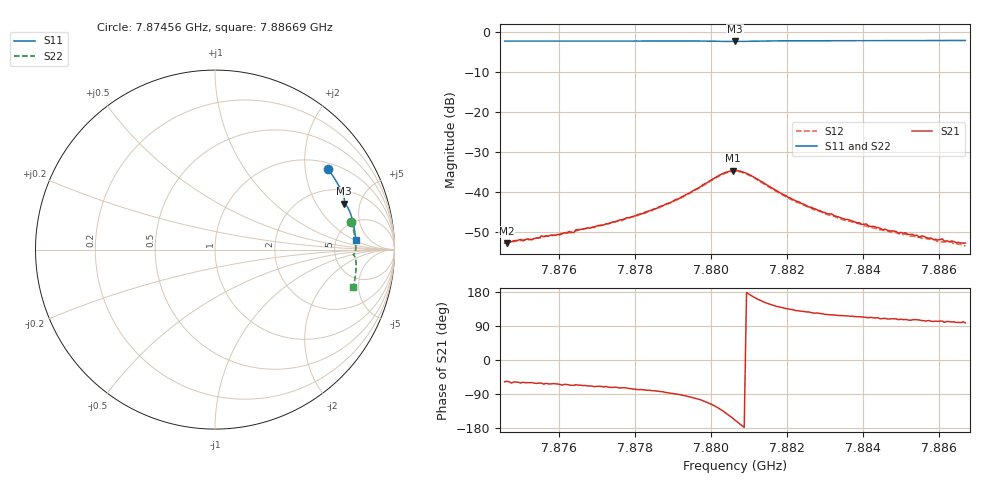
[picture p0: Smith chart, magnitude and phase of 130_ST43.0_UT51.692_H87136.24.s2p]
#  HZ  S  DB  R  50.00
! Rohde & Schwarz Vector Network Analyzer
! Rohde-Schwarz,ZNB20-2Port,1311601062101988,3.16
! Created: UTC 1/12/2023, 6:38:56 PM
! freq[Hz]  db:S11  ang:S11  db:S21  ang:S21  db:S12  ang:S12  db:S22  ang:S22
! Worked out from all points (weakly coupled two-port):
!   201 points, 7.87456 GHz to 7.88669 GHz, reference 50 ohm
!   highest |S21| = -34.71 dB at 7.88056 GHz (marker M1); lowest = -52.9 dB at 7.87462 GHz (marker M2)
!   lowest |S11| = -2.3 dB at 7.88062 GHz (marker M3), VSWR 7.47, Z = 144 + j178 ohm
!   |S11| at or under -10 dB: nowhere
!   |S22| runs from -2.3 to -2.0 dB; largest |S21 - S12| = 0.0012
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7.874556e9  -2.25 35.6  -52.82 -57.6  -52.71 -61.9  -2.21 11.5
7.874617e9  -2.25 35.4  -52.85 -56.1  -52.61 -62.4  -2.21 11.4
7.874981e9  -2.24 34.4  -51.92 -60.6  -52.21 -62.6  -2.20 10.5
7.875284e9  -2.23 33.6  -51.90 -59.6  -51.99 -64.6  -2.18 9.7
7.875527e9  -2.23 32.9  -51.03 -61.0  -51.48 -64.7  -2.18 9.2
7.876376e9  -2.21 30.6  -50.22 -66.8  -49.87 -69.3  -2.15 7.2
7.876437e9  -2.21 30.5  -49.49 -65.3  -49.75 -69.8  -2.15 7.0
7.876619e9  -2.21 30.0  -49.33 -67.6  -49.34 -69.9  -2.15 6.6
7.877468e9  -2.20 27.6  -47.57 -71.7  -47.42 -75.4  -2.13 4.7
7.87862e9  -2.20 24.5  -43.75 -82.7  -44.02 -86.4  -2.11 1.9
7.879409e9  -2.21 22.2  -40.41 -97.0  -40.47 -100.0  -2.13 -0.0
7.880258e9  -2.31 20.0  -35.60 -131.4  -35.81 -134.7  -2.22 -1.9
7.880561e9  -2.34 19.6  -34.71 -153.8  -34.87 -157.2  -2.26 -2.2
7.880622e9  -2.34 19.6  -34.74 -158.4  -34.87 -161.9  -2.26 -2.2
7.880925e9  -2.31 19.2  -35.35 178.0  -35.50 174.6  -2.23 -2.4
7.882017e9  -2.17 16.5  -41.33 135.0  -41.52 131.9  -2.07 -4.6
7.882684e9  -2.14 14.6  -44.10 124.0  -44.44 120.9  -2.04 -6.2
7.883958e9  -2.12 11.2  -48.15 113.8  -48.25 110.0  -2.00 -9.1
7.884686e9  -2.11 9.3  -49.77 108.1  -49.99 104.6  -1.99 -10.7
7.885474e9  -2.10 7.2  -51.38 105.7  -51.38 102.9  -1.98 -12.4
7.885535e9  -2.10 7.0  -51.01 104.2  -51.58 102.1  -1.97 -12.5
7.886687e9  -2.09 4.0  -52.82 98.1  -53.61 95.8  -1.96 -15.0
